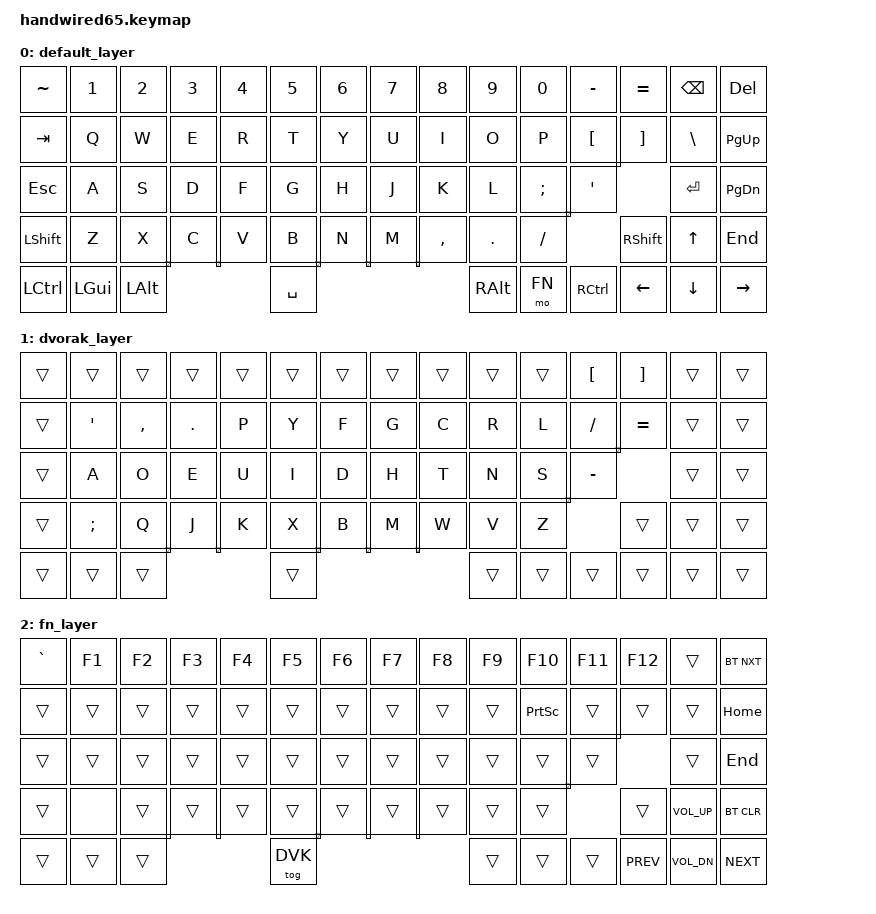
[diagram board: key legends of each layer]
/*
 * Copyright (c) 2024 Alex Girard
 *
 * SPDX-License-Identifier: MIT
 *
 * Standard QWERTY layout for hand-wired 65% keyboard
 *
 * NOTE: This keymap uses all 75 matrix positions (15x5).
 * Positions without a physical switch use &none.
 * After wiring to the MCU, test each key and adjust the
 * transform/keymap if keys don't match expected positions.
 */

#include <behaviors.dtsi>
#include <dt-bindings/zmk/keys.h>
#include <dt-bindings/zmk/bt.h>
#include <dt-bindings/zmk/reset.h>


#define XXX &none
#define ___ &trans
#define DEF 0
#define DVK 1
#define FN  2

/ {
    combos {
        compatible = "zmk,combos";

        combo_bootloader {
            timeout-ms = <200>;
            key-positions = <14 29 44>; /* Del + PgUp + PgDn */
            bindings = <&bootloader>;
        };

        combo_bt_clear {
           timeout-ms = <200>;
            key-positions = <44 58 14 59>; /* PgDn + Up + Del + End */
            bindings = <&bt BT_CLR>;
        };
    };

    keymap {
        compatible = "zmk,keymap";

        default_layer {
            bindings = <
// ┌──────┬─────┬─────┬─────┬─────┬─────┬─────┬─────┬─────┬─────┬─────┬─────┬─────┬─────┬─────┐
// │  ESC │  1  │  2  │  3  │  4  │  5  │  6  │  7  │  8  │  9  │  0  │  -  │  =  │BKSP │ DEL │
// ├──────┼─────┼─────┼─────┼─────┼─────┼─────┼─────┼─────┼─────┼─────┼─────┼─────┼─────┼─────┤
// │ TAB  │  Q  │  W  │  E  │  R  │  T  │  Y  │  U  │  I  │  O  │  P  │  [  │  ]  │  \  │PgUp │
// ├──────┼─────┼─────┼─────┼─────┼─────┼─────┼─────┼─────┼─────┼─────┼─────┼─────┼─────┼─────┤
// │ CAPS │  A  │  S  │  D  │  F  │  G  │  H  │  J  │  K  │  L  │  ;  │  '  │     │ENTER│PgDn │
// ├──────┼─────┼─────┼─────┼─────┼─────┼─────┼─────┼─────┼─────┼─────┼─────┼─────┼─────┼─────┤
// │LSHFT │     │  Z  │  X  │  C  │  V  │  B  │  N  │  M  │  ,  │  .  │  /  │RSHFT│  ▲  │ END │
// ├──────┼─────┼─────┼─────┼─────┼─────┼─────┼─────┼─────┼─────┼─────┼─────┼─────┼─────┼─────┤
// │LCTRL │ GUI │LALT │     │     │SPACE│RALT │     │     │     │  FN │RCTRL│  ◄  │  ▼  │  ►  │
// └──────┴─────┴─N447Z────┴─────┴─────┴─────┴─────┴─────┴─────┴─────┴─────┴─────┴─────┴─────┴─────┘
                &kp TILDE     &kp N1    &kp N2    &kp N3  &kp N4  &kp N5    &kp N6   &kp N7  &kp N8     &kp N9     &kp N0    &kp MINUS  &kp EQUAL  &kp BSPC   &kp DEL
                &kp TAB    &kp Q     &kp W     &kp E   &kp R   &kp T     &kp Y    &kp U   &kp I      &kp O      &kp P     &kp LBKT   &kp RBKT   &kp BSLH   &kp PG_UP
                &kp ESC   &kp A     &kp S     &kp D   &kp F   &kp G     &kp H    &kp J   &kp K      &kp L      &kp SEMI  &kp SQT    &none      &kp RET    &kp PG_DN
                &kp LSHFT  &kp Z     &kp X     &kp C   &kp V   &kp B     &kp N    &kp M   &kp COMMA  &kp DOT   &kp FSLH ___   &kp RSHFT  &kp UP     &kp END
                &kp LCTRL  &kp LGUI  &kp LALT  ___     ___     &kp SPACE ___      ___     ___        &kp RALT   &mo FN    &kp RCTRL  &kp LEFT   &kp DOWN   &kp RIGHT
            >;
        };

        /*
         * Standard US Dvorak, layered over the QWERTY default.
         * Toggle with FN + SPACE (&tog DVK on the fn layer).
         * Only the alpha/punctuation block is overridden; everything
         * else falls through to the default layer.
         */
        dvorak_layer {
            bindings = <
// ┌──────┬─────┬─────┬─────┬─────┬─────┬─────┬─────┬─────┬─────┬─────┬─────┬─────┬─────┬─────┐
// │      │     │     │     │     │     │     │     │     │     │     │  [  │  ]  │     │     │
// ├──────┼─────┼─────┼─────┼─────┼─────┼─────┼─────┼─────┼─────┼─────┼─────┼─────┼─────┼─────┤
// │      │  '  │  ,  │  .  │  P  │  Y  │  F  │  G  │  C  │  R  │  L  │  /  │  =  │     │     │
// ├──────┼─────┼─────┼─────┼─────┼─────┼─────┼─────┼─────┼─────┼─────┼─────┼─────┼─────┼─────┤
// │      │  A  │  O  │  E  │  U  │  I  │  D  │  H  │  T  │  N  │  S  │  -  │     │     │     │
// ├──────┼─────┼─────┼─────┼─────┼─────┼─────┼─────┼─────┼─────┼─────┼─────┼─────┼─────┼─────┤
// │      │  ;  │  Q  │  J  │  K  │  X  │  B  │  M  │  W  │  V  │  Z  │     │     │     │     │
// ├──────┼─────┼─────┼─────┼─────┼─────┼─────┼─────┼─────┼─────┼─────┼─────┼─────┼─────┼─────┤
// │      │     │     │     │     │     │     │     │     │     │     │     │     │     │     │
// └──────┴─────┴─────┴─────┴─────┴─────┴─────┴─────┴─────┴─────┴─────┴─────┴─────┴─────┴─────┘
                &trans     &trans    &trans    &trans    &trans   &trans   &trans   &trans   &trans     &trans     &trans    &kp LBKT   &kp RBKT   &trans     &trans
                &trans     &kp SQT   &kp COMMA &kp DOT   &kp P    &kp Y    &kp F    &kp G    &kp C      &kp R      &kp L     &kp FSLH   &kp EQUAL  &trans     &trans
                &trans     &kp A     &kp O     &kp E     &kp U    &kp I    &kp D    &kp H    &kp T      &kp N      &kp S     &kp MINUS  &trans     &trans     &trans
                &trans     &kp SEMI  &kp Q     &kp J     &kp K    &kp X    &kp B    &kp M    &kp W      &kp V      &kp Z     &trans     &trans     &trans     &trans
                &trans     &trans    &trans    &trans    &trans   &trans   &trans   &trans   &trans     &trans     &trans    &trans     &trans     &trans     &trans
            >;
        };

        fn_layer {
            bindings = <
                &kp GRAVE  &kp F1    &kp F2    &kp F3  &kp F4  &kp F5  &kp F6     &kp F7  &kp F8     &kp F9     &kp F10   &kp F11    &kp F12    &trans     &bt BT_NXT
                &trans     &trans    &trans    &trans  &trans  &trans  &trans     &trans  &trans     &trans     &kp PSCRN &trans     &trans     &trans     &kp HOME
                &trans     &trans    &trans    &trans  &trans  &trans  &trans     &trans  &trans     &trans     &trans    &trans     &none      &trans     &kp END
                &trans     &none     &trans    &trans  &trans  &trans  &trans     &trans  &trans     &trans     &trans    &trans     &trans     &kp C_VOL_UP &bt BT_CLR
                &trans     &trans    &trans    &none   &none   &tog DVK &trans    &none   &none      &trans     &trans    &trans     &kp C_PREV &kp C_VOL_DN &kp C_NEXT
            >;
        };
    };
};
